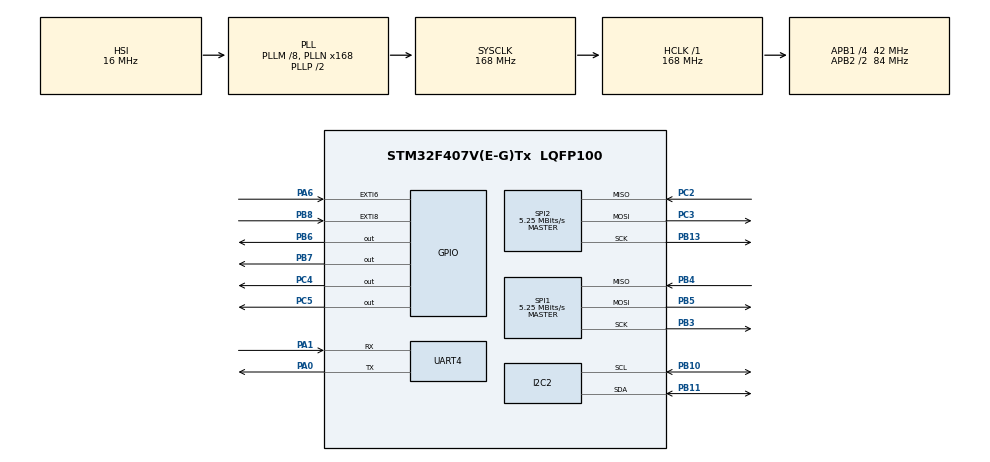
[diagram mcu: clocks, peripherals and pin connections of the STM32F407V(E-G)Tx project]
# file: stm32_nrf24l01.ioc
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Mcu.Family=STM32F4
Mcu.Name=STM32F407V(E-G)Tx
Mcu.Package=LQFP100
NVIC.EXTI9_5_IRQn=true\:0\:0\:false\:false\:true\:true\:true\:true
NVIC.PriorityGroup=NVIC_PRIORITYGROUP_4
PA0-WKUP.Mode=Asynchronous
PA0-WKUP.Signal=UART4_TX
PA1.Mode=Asynchronous
PA1.Signal=UART4_RX
PA6.GPIO_ModeDefaultEXTI=GPIO_MODE_IT_FALLING
PA6.Signal=GPXTI6
PB10.Mode=I2C
PB10.Signal=I2C2_SCL
PB11.Mode=I2C
PB11.Signal=I2C2_SDA
PB13.Mode=Full_Duplex_Master
PB13.Signal=SPI2_SCK
PB3.Mode=Full_Duplex_Master
PB3.Signal=SPI1_SCK
PB4.Mode=Full_Duplex_Master
PB4.Signal=SPI1_MISO
PB5.Mode=Full_Duplex_Master
PB5.Signal=SPI1_MOSI
PB6.GPIO_Speed=GPIO_SPEED_FREQ_HIGH
PB6.PinState=GPIO_PIN_SET
PB6.Signal=GPIO_Output
PB7.GPIO_Speed=GPIO_SPEED_FREQ_HIGH
PB7.PinState=GPIO_PIN_SET
PB7.Signal=GPIO_Output
PB8.GPIO_ModeDefaultEXTI=GPIO_MODE_IT_FALLING
PB8.Signal=GPXTI8
PC2.Mode=Full_Duplex_Master
PC2.Signal=SPI2_MISO
PC3.Mode=Full_Duplex_Master
PC3.Signal=SPI2_MOSI
PC4.Signal=GPIO_Output
PC5.GPIO_Speed=GPIO_SPEED_FREQ_HIGH
PC5.PinState=GPIO_PIN_SET
PC5.Signal=GPIO_Output
PH0-OSC_IN.Mode=HSE-External-Oscillator
PH0-OSC_IN.Signal=RCC_OSC_IN
PH1-OSC_OUT.Mode=HSE-External-Oscillator
PH1-OSC_OUT.Signal=RCC_OSC_OUT
ProjectManager.HeapSize=0x200
ProjectManager.StackSize=0x400
ProjectManager.TargetToolchain=STM32CubeIDE
RCC.48MHZClocksFreq_Value=84000000
RCC.AHBFreq_Value=168000000
RCC.APB1CLKDivider=RCC_HCLK_DIV4
RCC.APB1Freq_Value=42000000
RCC.APB1TimFreq_Value=84000000
RCC.APB2CLKDivider=RCC_HCLK_DIV2
RCC.APB2Freq_Value=84000000
RCC.APB2TimFreq_Value=168000000
RCC.CortexFreq_Value=168000000
RCC.HCLKFreq_Value=168000000
RCC.HSE_VALUE=8000000
RCC.HSI_VALUE=16000000
RCC.LSE_VALUE=32768
RCC.PLLM=8
RCC.PLLN=168
RCC.SYSCLKFreq_VALUE=168000000
RCC.SYSCLKSource=RCC_SYSCLKSOURCE_PLLCLK
RCC.VCOOutputFreq_Value=336000000
SPI1.BaudRatePrescaler=SPI_BAUDRATEPRESCALER_16
SPI1.CalculateBaudRate=5.25 MBits/s
SPI1.Direction=SPI_DIRECTION_2LINES
SPI1.Mode=SPI_MODE_MASTER
SPI1.VirtualType=VM_MASTER
SPI2.BaudRatePrescaler=SPI_BAUDRATEPRESCALER_8
SPI2.CalculateBaudRate=5.25 MBits/s
SPI2.Direction=SPI_DIRECTION_2LINES
SPI2.Mode=SPI_MODE_MASTER
SPI2.VirtualType=VM_MASTER
UART4.VirtualMode=Asynchronous
board=custom

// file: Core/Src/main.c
/* USER CODE BEGIN Header */
/**
  ******************************************************************************
  * @file           : main.c
  * @brief          : Main program body
  ******************************************************************************
  * @attention
  *
  * Copyright (c) 2024 STMicroelectronics.
  * All rights reserved.
  *
  * This software is licensed under terms that can be found in the LICENSE file
  * in the root directory of this software component.
  * If no LICENSE file comes with this software, it is provided AS-IS.
  *
  ******************************************************************************
  */
/* USER CODE END Header */
#include "main.h"
#include "i2c.h"
#include "spi.h"
#include "usart.h"
#include "gpio.h"

/* USER CODE BEGIN Includes */
#include "stdio.h"
#include "nrf24l01.h"
#include "hd44780.h"
/* USER CODE END Includes */
/* USER CODE BEGIN PD */
#define NRF24L01_RX_SPI                 &hspi1
#define NRF24L01_RX_SPI_CS_PORT         GPIOB
#define NRF24L01_RX_SPI_CS_PIN_NUM      GPIO_PIN_7
#define NRF24L01_RX_SPI_CE_PORT         GPIOB
#define NRF24L01_RX_SPI_CE_PIN_NUM      GPIO_PIN_6
#define NRF24L01_RX_IRQ_PORT            GPIOB
#define NRF24L01_RX_IRQ_PIN_NUM         GPIO_PIN_8

#define NRF24L01_TX_SPI                 &hspi2
#define NRF24L01_TX_SPI_CS_PORT         GPIOC
#define NRF24L01_TX_SPI_CS_PIN_NUM      GPIO_PIN_4
#define NRF24L01_TX_SPI_CE_PORT         GPIOC
#define NRF24L01_TX_SPI_CE_PIN_NUM      GPIO_PIN_5
#define NRF24L01_TX_IRQ_PORT            GPIOA
#define NRF24L01_TX_IRQ_PIN_NUM         GPIO_PIN_6

#define HD44780_I2C_HANDLE              &hi2c2

#define HW_SERIAL_LOG_UART_HANDLE       huart4
/* USER CODE END PD */
/* USER CODE BEGIN PV */
nrf24l01_handle_t nrf24l01_tx_handle;
nrf24l01_handle_t nrf24l01_rx_handle;
hd44780_handle_t hd44780_handle;
uint8_t tx_data[8] = {'0', '0', '0', '0', '0', '0', '0', '0'};
uint8_t rx_data[8] = {'0', '0', '0', '0', '0', '0', '0', '0'};
uint8_t log_buf[50];
/* USER CODE END PV */
void SystemClock_Config(void);
/* USER CODE BEGIN PFP */
err_code_t hw_intf_nrf24l01_tx_spi_send(uint8_t *buf_send, uint16_t len);
err_code_t hw_intf_nrf24l01_tx_spi_recv(uint8_t *buf_recv, uint16_t len);
err_code_t hw_intf_nrf24l01_tx_set_cs(uint8_t level);
err_code_t hw_intf_nrf24l01_tx_set_ce(uint8_t level);

err_code_t hw_intf_nrf24l01_rx_spi_send(uint8_t *buf_send, uint16_t len);
err_code_t hw_intf_nrf24l01_rx_spi_recv(uint8_t *buf_recv, uint16_t len);
err_code_t hw_intf_nrf24l01_rx_set_cs(uint8_t level);
err_code_t hw_intf_nrf24l01_rx_set_ce(uint8_t level);

err_code_t hw_intf_hd44780_i2c_send(uint8_t *buf_send, uint16_t len, uint32_t timeout_ms);
/* USER CODE END PFP */
int main(void)
{
    /* MCU Configuration--------------------------------------------------------*/
    /* Reset of all peripherals, Initializes the Flash interface and the Systick. */
    HAL_Init();
    /* Configure the system clock */
    SystemClock_Config();
    /* Initialize all configured peripherals */
    MX_GPIO_Init();
    MX_SPI1_Init();
    MX_SPI2_Init();
    MX_UART4_Init();
    MX_I2C2_Init();
    /* USER CODE BEGIN 2 */
    nrf24l01_tx_handle = nrf24l01_init();
    nrf24l01_cfg_t nrf24l01_tx_cfg = {
        .channel = 2500,
        .payload_len = 8,
        .crc_len = 1,
        .addr_width = 5,
        .retrans_cnt = 3,
        .retrans_delay = 250,
        .data_rate = NRF24L01_DATA_RATE_1Mbps,
        .output_pwr = NRF24L01_OUTPUT_PWR_0dBm,
        .mode = NRF24L01_MODE_TRANSMITTER,
        .spi_send = hw_intf_nrf24l01_tx_spi_send,
        .spi_recv = hw_intf_nrf24l01_tx_spi_recv,
        .set_cs = hw_intf_nrf24l01_tx_set_cs,
        .set_ce = hw_intf_nrf24l01_tx_set_ce
    };
    nrf24l01_set_config(nrf24l01_tx_handle, nrf24l01_tx_cfg);
    nrf24l01_config(nrf24l01_tx_handle);

    nrf24l01_rx_handle = nrf24l01_init();
    nrf24l01_cfg_t nrf24l01_rx_cfg = {
        .channel = 2500,
        .payload_len = 8,
        .crc_len = 1,
        .addr_width = 5,
        .retrans_cnt = 3,
        .retrans_delay = 250,
        .data_rate = NRF24L01_DATA_RATE_1Mbps,
        .output_pwr = NRF24L01_OUTPUT_PWR_0dBm,
        .mode = NRF24L01_MODE_RECEIVER,
        .spi_send = hw_intf_nrf24l01_rx_spi_send,
        .spi_recv = hw_intf_nrf24l01_rx_spi_recv,
        .set_cs = hw_intf_nrf24l01_rx_set_cs,
        .set_ce = hw_intf_nrf24l01_rx_set_ce
    };
    nrf24l01_set_config(nrf24l01_rx_handle, nrf24l01_rx_cfg);
    nrf24l01_config(nrf24l01_rx_handle);

    hd44780_handle = hd44780_init();
    hd44780_cfg_t hd44780_cfg = {
        .size = HD44780_SIZE_16_2,
        .comm_mode = HD44780_COMM_MODE_SERIAL,
        .i2c_send = hw_intf_hd44780_i2c_send,
        .delay = HAL_Delay
    };
    hd44780_set_config(hd44780_handle, hd44780_cfg);
    hd44780_config(hd44780_handle);
    hd44780_clear(hd44780_handle);
    /* USER CODE END 2 */
    /* Infinite loop */
    /* USER CODE BEGIN WHILE */
    while (1)
    {
        static uint8_t cnt = 0;

        if (cnt > 8)
        {
            cnt = 0;
            for (int i = 0; i < 8; i++)
            {
                tx_data[i] = '0';
            }
        }

        for (int i = 0; i < 8; i++)
        {
            tx_data[i]++;
        }

        nrf24l01_transmit(nrf24l01_tx_handle, tx_data);

        cnt++;

        hd44780_home(hd44780_handle);
        hd44780_write_string(hd44780_handle, (uint8_t *)"Receive data:");

        hd44780_gotoxy(hd44780_handle, 0, 1);
        hd44780_write_string(hd44780_handle, (uint8_t *)rx_data);

        HAL_Delay(200);
        /* USER CODE END WHILE */
    }
}
void SystemClock_Config(void)
{
    RCC_OscInitTypeDef RCC_OscInitStruct = {0};
    RCC_ClkInitTypeDef RCC_ClkInitStruct = {0};
    /** Configure the main internal regulator output voltage
    */
    __HAL_RCC_PWR_CLK_ENABLE();
    __HAL_PWR_VOLTAGESCALING_CONFIG(PWR_REGULATOR_VOLTAGE_SCALE1);
    /** Initializes the RCC Oscillators according to the specified parameters
    * in the RCC_OscInitTypeDef structure.
    */
    RCC_OscInitStruct.OscillatorType = RCC_OSCILLATORTYPE_HSI;
    RCC_OscInitStruct.HSIState = RCC_HSI_ON;
    RCC_OscInitStruct.HSICalibrationValue = RCC_HSICALIBRATION_DEFAULT;
    RCC_OscInitStruct.PLL.PLLState = RCC_PLL_ON;
    RCC_OscInitStruct.PLL.PLLSource = RCC_PLLSOURCE_HSI;
    RCC_OscInitStruct.PLL.PLLM = 8;
    RCC_OscInitStruct.PLL.PLLN = 168;
    RCC_OscInitStruct.PLL.PLLP = RCC_PLLP_DIV2;
    RCC_OscInitStruct.PLL.PLLQ = 4;
    if (HAL_RCC_OscConfig(&RCC_OscInitStruct) != HAL_OK)
    {
        Error_Handler();
    }
    /** Initializes the CPU, AHB and APB buses clocks
    */
    RCC_ClkInitStruct.ClockType = RCC_CLOCKTYPE_HCLK | RCC_CLOCKTYPE_SYSCLK
                                  | RCC_CLOCKTYPE_PCLK1 | RCC_CLOCKTYPE_PCLK2;
    RCC_ClkInitStruct.SYSCLKSource = RCC_SYSCLKSOURCE_PLLCLK;
    RCC_ClkInitStruct.AHBCLKDivider = RCC_SYSCLK_DIV1;
    RCC_ClkInitStruct.APB1CLKDivider = RCC_HCLK_DIV4;
    RCC_ClkInitStruct.APB2CLKDivider = RCC_HCLK_DIV2;
    if (HAL_RCC_ClockConfig(&RCC_ClkInitStruct, FLASH_LATENCY_5) != HAL_OK)
    {
        Error_Handler();
    }
}
/* USER CODE BEGIN 4 */
void HAL_GPIO_EXTI_Callback(uint16_t GPIO_Pin)
{
    if (GPIO_Pin == NRF24L01_RX_IRQ_PIN_NUM)
    {
        nrf24l01_receive(nrf24l01_rx_handle, rx_data); // read data when data ready flag is set

        sprintf((char*)log_buf, (const char*)"\r\nTransmitted data: %s", tx_data);
        HAL_UART_Transmit(&HW_SERIAL_LOG_UART_HANDLE, (uint8_t*)log_buf, 28, 100);

        sprintf((char*)log_buf, (const char*)"\r\nReceived data   : %s", rx_data);
        HAL_UART_Transmit(&HW_SERIAL_LOG_UART_HANDLE, (uint8_t*)log_buf, 28, 100);

        sprintf((char*)log_buf, (const char*)"\r\n**************************");
        HAL_UART_Transmit(&HW_SERIAL_LOG_UART_HANDLE, (uint8_t*)log_buf, 28, 100);
    }
    else if (GPIO_Pin == NRF24L01_TX_IRQ_PIN_NUM)
    {
    	nrf24l01_clear_transmit_irq_flags(nrf24l01_tx_handle);
    }
    else
    {

    }
}

err_code_t hw_intf_nrf24l01_tx_spi_send(uint8_t *buf_send, uint16_t len)
{
    HAL_SPI_Transmit(NRF24L01_TX_SPI, buf_send, len, 100);

    return ERR_CODE_SUCCESS;
}

err_code_t hw_intf_nrf24l01_tx_spi_recv(uint8_t *buf_recv, uint16_t len)
{
    HAL_SPI_Receive(NRF24L01_TX_SPI, buf_recv, len, 100);

    return ERR_CODE_SUCCESS;
}

err_code_t hw_intf_nrf24l01_tx_set_cs(uint8_t level)
{
    HAL_GPIO_WritePin(NRF24L01_TX_SPI_CS_PORT, NRF24L01_TX_SPI_CS_PIN_NUM, level);

    return ERR_CODE_SUCCESS;
}

err_code_t hw_intf_nrf24l01_tx_set_ce(uint8_t level)
{
    HAL_GPIO_WritePin(NRF24L01_TX_SPI_CE_PORT, NRF24L01_TX_SPI_CE_PIN_NUM, level);

    return ERR_CODE_SUCCESS;
}

err_code_t hw_intf_nrf24l01_rx_spi_send(uint8_t *buf_send, uint16_t len)
{
    HAL_SPI_Transmit(NRF24L01_RX_SPI, buf_send, len, 100);

    return ERR_CODE_SUCCESS;
}

err_code_t hw_intf_nrf24l01_rx_spi_recv(uint8_t *buf_recv, uint16_t len)
{
    HAL_SPI_Receive(NRF24L01_RX_SPI, buf_recv, len, 100);

    return ERR_CODE_SUCCESS;
}

err_code_t hw_intf_nrf24l01_rx_set_cs(uint8_t level)
{
    HAL_GPIO_WritePin(NRF24L01_RX_SPI_CS_PORT, NRF24L01_RX_SPI_CS_PIN_NUM, level);

    return ERR_CODE_SUCCESS;
}

err_code_t hw_intf_nrf24l01_rx_set_ce(uint8_t level)
{
    HAL_GPIO_WritePin(NRF24L01_RX_SPI_CE_PORT, NRF24L01_RX_SPI_CE_PIN_NUM, level);

    return ERR_CODE_SUCCESS;
}

err_code_t hw_intf_hd44780_i2c_send(uint8_t *buf_send, uint16_t len, uint32_t timeout_ms)
{
    HAL_I2C_Master_Transmit(HD44780_I2C_HANDLE, (0x3F << 1), buf_send, len, timeout_ms);

    return ERR_CODE_SUCCESS;
}
/* USER CODE END 4 */
void Error_Handler(void)
{
    __disable_irq();
    while (1)
    {
    }
}
